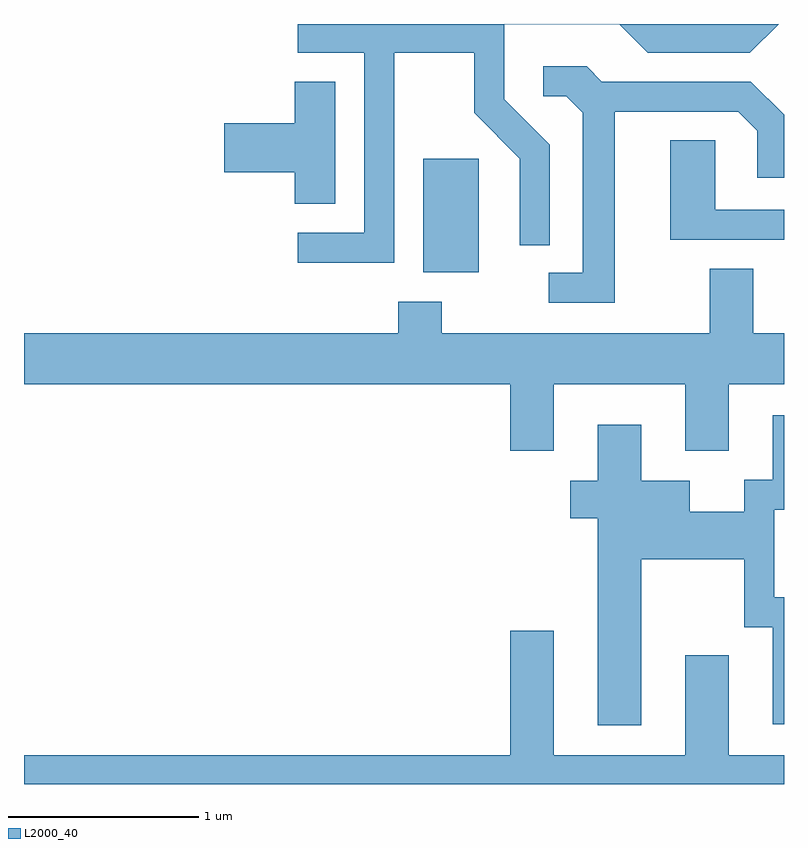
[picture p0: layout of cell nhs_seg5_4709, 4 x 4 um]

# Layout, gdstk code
import gdstk
lib = gdstk.Library(unit=1e-6, precision=1e-09)
def R(c, l, rs):  # rectangles x0, y0, x1, y1
    for r in rs: c.add(gdstk.rectangle(r[:2], r[2:], *l))
def P(c, l, *ps):  # polygons
    for p in ps: c.add(gdstk.Polygon(p, *l))
L2000_40 = (2000, 40)

nhs_seg5_4709 = lib.new_cell('nhs_seg5_4709')
R(nhs_seg5_4709, L2000_40, [(327.711,1410.766,328.004,1411.364)])
P(nhs_seg5_4709, L2000_40, [(327.559,1411.921),(327.981,1411.921),(327.981,1411.604),(328.221,1411.364),(328.221,1410.908),(328.379,1410.908),(328.379,1411.437),(328.139,1411.677),(328.139,1412.071),(328.744,1412.071),(328.894,1411.921),(329.432,1411.921),(329.583,1412.072),(327.053,1412.072),(327.053,1411.921),(327.401,1411.921),(327.401,1410.974),(327.053,1410.974),(327.053,1410.816),(327.559,1410.816)],
  [(328.719,1411.611),(329.369,1411.611),(329.471,1411.509),(329.471,1411.263),(329.611,1411.263),(329.611,1411.595),(329.437,1411.769),(328.652,1411.769),(328.572,1411.849),(328.343,1411.849),(328.343,1411.691),(328.464,1411.691),(328.551,1411.604),(328.551,1410.764),(328.373,1410.764),(328.373,1410.606),(328.719,1410.606)],
  [(327.249,1411.769),(327.036,1411.769),(327.036,1411.549),(326.666,1411.549),(326.666,1411.291),(327.036,1411.291),(327.036,1411.126),(327.249,1411.126)],
  [(329.611,1411.094),(329.249,1411.094),(329.249,1411.459),(329.011,1411.459),(329.011,1410.936),(329.611,1410.936)],
  [(328.399,1410.176),(329.091,1410.176),(329.091,1409.826),(329.319,1409.826),(329.319,1410.176),(329.611,1410.176),(329.611,1410.444),(329.449,1410.444),(329.449,1410.784),(329.221,1410.784),(329.221,1410.444),(327.809,1410.444),(327.809,1410.609),(327.581,1410.609),(327.581,1410.444),(325.611,1410.444),(325.611,1410.176),(328.171,1410.176),(328.171,1409.826),(328.399,1409.826)],
  [(328.859,1409.256),(329.401,1409.256),(329.401,1408.896),(329.551,1408.896),(329.551,1408.386),(329.611,1408.386),(329.611,1409.054),(329.559,1409.054),(329.559,1409.516),(329.611,1409.516),(329.611,1410.014),(329.551,1410.014),(329.551,1409.674),(329.401,1409.674),(329.401,1409.504),(329.114,1409.504),(329.114,1409.669),(328.859,1409.669),(328.859,1409.964),(328.631,1409.964),(328.631,1409.669),(328.486,1409.669),(328.486,1409.471),(328.631,1409.471),(328.631,1408.381),(328.859,1408.381)],
  [(329.611,1408.224),(329.319,1408.224),(329.319,1408.749),(329.091,1408.749),(329.091,1408.224),(328.399,1408.224),(328.399,1408.879),(328.171,1408.879),(328.171,1408.224),(325.611,1408.224),(325.611,1408.072),(329.611,1408.072)])

lib.write_gds('nhs_seg5_4709.gds')
